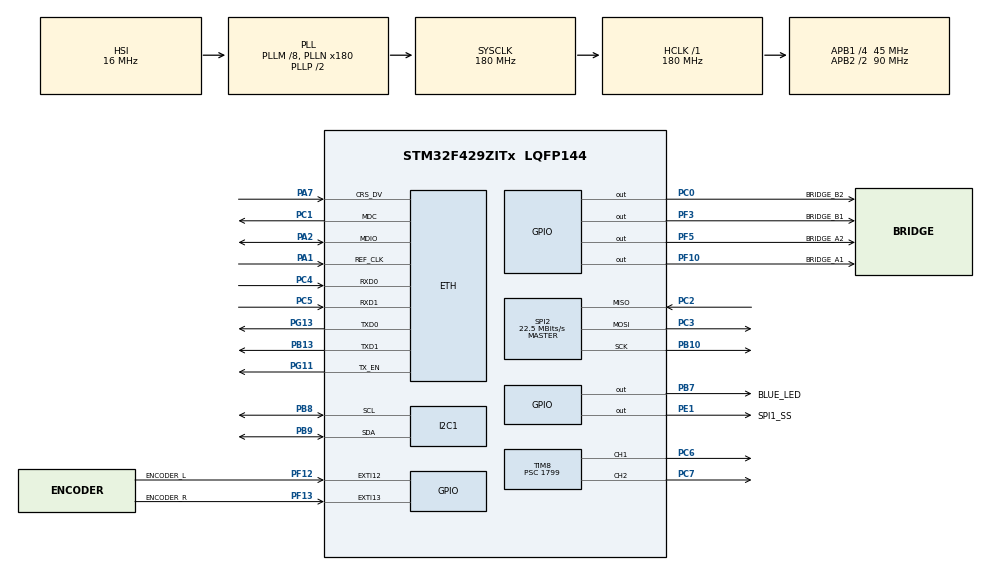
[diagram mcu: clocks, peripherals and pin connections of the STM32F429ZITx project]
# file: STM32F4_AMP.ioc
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ETH.MediaInterface=ETH_MEDIA_INTERFACE_RMII
ETH.PHY_ISFR_INT4=0x0010
ETH.PhyAddress=0
I2C1.I2C_Mode=I2C_Fast
LWIP.CHECKSUM_BY_HARDWARE=1
LWIP.GATEWAY_ADDRESS=192.168.001.001
LWIP.IP_ADDRESS=192.168.001.010
LWIP.LWIP_BROADCAST_PING=1
LWIP.LWIP_DHCP=0
LWIP.LWIP_NETIF_LINK_CALLBACK=1
LWIP.LWIP_RAW=1
LWIP.LWIP_TCP_TIMESTAMPS=1
LWIP.MEM_SIZE=8000
LWIP.NETMASK_ADDRESS=255.255.255.000
LWIP.PBUF_POOL_BUFSIZE=1516
LWIP.TCP_MSS=1460
LWIP.Version=v2.0.3_Cube
Mcu.Family=STM32F4
Mcu.Name=STM32F429ZITx
Mcu.Package=LQFP144
NVIC.ETH_IRQn=true\:1\:0\:true\:false\:true\:true\:true
NVIC.EXTI15_10_IRQn=true\:1\:0\:true\:false\:true\:true\:true
NVIC.PriorityGroup=NVIC_PRIORITYGROUP_4
NVIC.TIM1_BRK_TIM9_IRQn=true\:1\:0\:true\:false\:true\:true\:true
NVIC.TIM6_DAC_IRQn=true\:1\:0\:true\:false\:true\:true\:true
NVIC.TIM7_IRQn=true\:1\:0\:true\:false\:true\:true\:true
PA1.Mode=RMII
PA1.Signal=ETH_REF_CLK
PA2.Mode=RMII
PA2.Signal=ETH_MDIO
PA7.Mode=RMII
PA7.Signal=ETH_CRS_DV
PB10.Mode=Full_Duplex_Master
PB10.Signal=SPI2_SCK
PB13.Mode=RMII
PB13.Signal=ETH_TXD1
PB7.GPIO_Label=BLUE_LED
PB7.Signal=GPIO_Output
PB8.Mode=I2C
PB8.Signal=I2C1_SCL
PB9.Mode=I2C
PB9.Signal=I2C1_SDA
PC0.GPIO_Label=BRIDGE_B2
PC0.Signal=GPIO_Output
PC1.Mode=RMII
PC1.Signal=ETH_MDC
PC2.Mode=Full_Duplex_Master
PC2.Signal=SPI2_MISO
PC3.Mode=Full_Duplex_Master
PC3.Signal=SPI2_MOSI
PC4.Mode=RMII
PC4.Signal=ETH_RXD0
PC5.Mode=RMII
PC5.Signal=ETH_RXD1
PC6.Signal=S_TIM8_CH1
PC7.Signal=S_TIM8_CH2
PE1.GPIO_Label=SPI1_SS
PE1.Signal=GPIO_Output
PF10.GPIO_Label=BRIDGE_A1
PF10.Signal=GPIO_Output
PF12.GPIO_Label=ENCODER_L
PF12.Signal=GPXTI12
PF13.GPIO_Label=ENCODER_R
PF13.GPIO_ModeDefaultEXTI=GPIO_MODE_IT_RISING
PF13.GPIO_PuPd=GPIO_PULLDOWN
PF13.Signal=GPXTI13
PF3.GPIO_Label=BRIDGE_B1
PF3.Signal=GPIO_Output
PF5.GPIO_Label=BRIDGE_A2
PF5.Signal=GPIO_Output
PG11.Mode=RMII
PG11.Signal=ETH_TX_EN
PG13.Mode=RMII
PG13.Signal=ETH_TXD0
ProjectManager.HeapSize=0x200
ProjectManager.StackSize=0x400
ProjectManager.TargetToolchain=STM32CubeIDE
RCC.48MHZClocksFreq_Value=90000000
RCC.AHBFreq_Value=180000000
RCC.APB1CLKDivider=RCC_HCLK_DIV4
RCC.APB1Freq_Value=45000000
RCC.APB1TimFreq_Value=90000000
RCC.APB2CLKDivider=RCC_HCLK_DIV2
RCC.APB2Freq_Value=90000000
RCC.APB2TimFreq_Value=180000000
RCC.CortexFreq_Value=180000000
RCC.HCLKFreq_Value=180000000
RCC.HSE_VALUE=25000000
RCC.HSI_VALUE=16000000
RCC.LSE_VALUE=32768
RCC.PLLM=8
RCC.PLLN=180
RCC.SYSCLKFreq_VALUE=180000000
RCC.SYSCLKSource=RCC_SYSCLKSOURCE_PLLCLK
RCC.VCOOutputFreq_Value=360000000
SH.S_TIM8_CH1.0=TIM8_CH1,PWM Generation1 CH1
SH.S_TIM8_CH2.0=TIM8_CH2,PWM Generation2 CH2
SPI2.CalculateBaudRate=22.5 MBits/s
SPI2.Direction=SPI_DIRECTION_2LINES
SPI2.Mode=SPI_MODE_MASTER
SPI2.VirtualType=VM_MASTER
TIM6.Period=99
TIM6.Prescaler=8999
TIM7.Period=9999
TIM7.Prescaler=8999
TIM8.Channel-PWM\ Generation1\ CH1=TIM_CHANNEL_1
TIM8.Channel-PWM\ Generation2\ CH2=TIM_CHANNEL_2
TIM8.Period=999
TIM8.Prescaler=1799
TIM9.Period=499
TIM9.Prescaler=17999
VP_LWIP_VS_Enabled.Mode=Enabled
VP_TIM6_VS_ClockSourceINT.Mode=Enable_Timer
VP_TIM7_VS_ClockSourceINT.Mode=Enable_Timer
VP_TIM8_VS_ClockSourceINT.Mode=Internal
VP_TIM9_VS_ClockSourceINT.Mode=Internal
board=NUCLEO-F429ZI

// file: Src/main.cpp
/* USER CODE BEGIN Header */
/**
  ******************************************************************************
  * @file           : main.c
  * @brief          : Main program body
  ******************************************************************************
  * @attention
  *
  * <h2><center>&copy; Copyright (c) 2019 STMicroelectronics.
  * All rights reserved.</center></h2>
  *
  * This software component is licensed by ST under Ultimate Liberty license
  * SLA0044, the "License"; You may not use this file except in compliance with
  * the License. You may obtain a copy of the License at:
  *                             www.st.com/SLA0044
  *
  ******************************************************************************
  */
/* USER CODE END Header */

#include "main.h"
#include "lwip.h"

/* USER CODE BEGIN Includes */

#include "Encoder.h"
#include "DCMotor.h"
#include "IMUSensor.h"
#include "DataPtrVolumePair.h"
#include "DataManagement.h"
#include "tcp_echoserver.h"
#include "tcp_echoclient.h"

/* USER CODE END Includes */

/* USER CODE BEGIN PD */

#include "globalDefines.h"

/* USER CODE END PD */

I2C_HandleTypeDef hi2c1;

SPI_HandleTypeDef hspi2;

TIM_HandleTypeDef htim6;
TIM_HandleTypeDef htim7;
TIM_HandleTypeDef htim8;
TIM_HandleTypeDef htim9;

/* USER CODE BEGIN PV */

Encoder encoder;
DCMotor dcMotors(&htim8);
IMUSensor imuSensors(IMU_NUM_OF_ELEM);
DataManagement dataManagement;

std::map<uint8_t, DataPtrVolumePair> dataPtrMap =
{
	{ID_PWM, DataPtrVolumePair{1, SIZE_GET_PWM, std::bind(&DCMotor::getDataInArray, &dcMotors, std::placeholders::_1)}},
	{ID_ACC, DataPtrVolumePair{IMU_NUM_OF_ELEM, SIZE_GET_ACC, std::bind(&IMUSensor::getAccData, &imuSensors, std::placeholders::_1)}},
	{ID_GYRO, DataPtrVolumePair{IMU_NUM_OF_ELEM, SIZE_GET_GYRO, std::bind(&IMUSensor::getGyroData, &imuSensors, std::placeholders::_1)}},
	{ID_MAG, DataPtrVolumePair{IMU_NUM_OF_ELEM, SIZE_GET_MAG, std::bind(&IMUSensor::getMagData, &imuSensors, std::placeholders::_1)}},
	{ID_ENCODER, DataPtrVolumePair{1, SIZE_GET_ENCODER, std::bind(&Encoder::getDataInArray, &encoder, std::placeholders::_1)}}
};

/* USER CODE END PV */

void SystemClock_Config(void);
static void MX_GPIO_Init(void);
static void MX_I2C1_Init(void);
static void MX_TIM6_Init(void);
static void MX_TIM7_Init(void);
static void MX_TIM8_Init(void);
static void MX_TIM9_Init(void);
static void MX_SPI2_Init(void);

/* USER CODE BEGIN 0 */

int _write(int file, char *ptr, int len)
{
	for (int i = 0; i < len; i++)
	{
		ITM_SendChar(*ptr++);
	}
	return len;
}

void HAL_TIM_PeriodElapsedCallback(TIM_HandleTypeDef *htim)
{
	if (htim->Instance == TIM6)
	{
		imuSensors.pullDataFromSensorsI2C(&hi2c1);
	}

	if (htim->Instance == TIM7)
	{
		HAL_GPIO_TogglePin(BLUE_LED_GPIO_Port, BLUE_LED_Pin);
		encoder.countPulsesPerSecond();
	}

	if (htim->Instance == TIM9)
	{
		uint16_t dataLength;
		std::unique_ptr<uint8_t[]> dataBuffer = std::make_unique<uint8_t[]>(dataManagement.getMaxDataSize());

		dataLength = dataManagement.getCollectedData(dataBuffer.get());

		sendDataWhileConnected(dataBuffer.get(), dataLength);
	}
}

void HAL_GPIO_EXTI_Callback(uint16_t GPIO_Pin)
{
	if(GPIO_Pin == ENCODER_R_Pin)
	{
		encoder.incrementEncoderPulse(RIGHT_ENCODER);
	}

	if(GPIO_Pin == ENCODER_L_Pin)
	{
		encoder.incrementEncoderPulse(LEFT_ENCODER);
	}
}

/* USER CODE END 0 */

int main(void)
{

  /* MCU Configuration--------------------------------------------------------*/

  /* Reset of all peripherals, Initializes the Flash interface and the Systick. */
  HAL_Init();

  /* Configure the system clock */
  SystemClock_Config();

  /* Initialize all configured peripherals */
  MX_GPIO_Init();
  MX_I2C1_Init();
  MX_TIM6_Init();
  MX_TIM7_Init();
  MX_TIM8_Init();
  MX_TIM9_Init();
  MX_LWIP_Init();
  MX_SPI2_Init();
  /* USER CODE BEGIN 2 */

  HAL_I2C_Init(&hi2c1);
  imuSensors.initializeI2C_Sensors(&hi2c1);

  dcMotors.stop_L();
  dcMotors.stop_R();

  dataManagement.configure(&dataPtrMap);
  tcp_echoserver_init();

  HAL_TIM_Base_Start_IT(&htim6);
  HAL_TIM_Base_Start_IT(&htim7);
  HAL_TIM_Base_Start_IT(&htim9);
  HAL_TIM_PWM_Start(&htim8, TIM_CHANNEL_1);
  HAL_TIM_PWM_Start(&htim8, TIM_CHANNEL_2);
  /* USER CODE END 2 */

  /* Infinite loop */
  /* USER CODE BEGIN WHILE */
  while (1)
  {
	  MX_LWIP_Process();

    /* USER CODE END WHILE */

  }
}

void SystemClock_Config(void)
{
  RCC_OscInitTypeDef RCC_OscInitStruct = {0};
  RCC_ClkInitTypeDef RCC_ClkInitStruct = {0};

  /** Configure the main internal regulator output voltage
  */
  __HAL_RCC_PWR_CLK_ENABLE();
  __HAL_PWR_VOLTAGESCALING_CONFIG(PWR_REGULATOR_VOLTAGE_SCALE1);
  /** Initializes the CPU, AHB and APB busses clocks
  */
  RCC_OscInitStruct.OscillatorType = RCC_OSCILLATORTYPE_HSI;
  RCC_OscInitStruct.HSIState = RCC_HSI_ON;
  RCC_OscInitStruct.HSICalibrationValue = RCC_HSICALIBRATION_DEFAULT;
  RCC_OscInitStruct.PLL.PLLState = RCC_PLL_ON;
  RCC_OscInitStruct.PLL.PLLSource = RCC_PLLSOURCE_HSI;
  RCC_OscInitStruct.PLL.PLLM = 8;
  RCC_OscInitStruct.PLL.PLLN = 180;
  RCC_OscInitStruct.PLL.PLLP = RCC_PLLP_DIV2;
  RCC_OscInitStruct.PLL.PLLQ = 4;
  if (HAL_RCC_OscConfig(&RCC_OscInitStruct) != HAL_OK)
  {
    Error_Handler();
  }
  /** Activate the Over-Drive mode
  */
  if (HAL_PWREx_EnableOverDrive() != HAL_OK)
  {
    Error_Handler();
  }
  /** Initializes the CPU, AHB and APB busses clocks
  */
  RCC_ClkInitStruct.ClockType = RCC_CLOCKTYPE_HCLK|RCC_CLOCKTYPE_SYSCLK
                              |RCC_CLOCKTYPE_PCLK1|RCC_CLOCKTYPE_PCLK2;
  RCC_ClkInitStruct.SYSCLKSource = RCC_SYSCLKSOURCE_PLLCLK;
  RCC_ClkInitStruct.AHBCLKDivider = RCC_SYSCLK_DIV1;
  RCC_ClkInitStruct.APB1CLKDivider = RCC_HCLK_DIV4;
  RCC_ClkInitStruct.APB2CLKDivider = RCC_HCLK_DIV2;

  if (HAL_RCC_ClockConfig(&RCC_ClkInitStruct, FLASH_LATENCY_5) != HAL_OK)
  {
    Error_Handler();
  }
}

static void MX_I2C1_Init(void)
{

  hi2c1.Instance = I2C1;
  hi2c1.Init.ClockSpeed = 400000;
  hi2c1.Init.DutyCycle = I2C_DUTYCYCLE_2;
  hi2c1.Init.OwnAddress1 = 0;
  hi2c1.Init.AddressingMode = I2C_ADDRESSINGMODE_7BIT;
  hi2c1.Init.DualAddressMode = I2C_DUALADDRESS_DISABLE;
  hi2c1.Init.OwnAddress2 = 0;
  hi2c1.Init.GeneralCallMode = I2C_GENERALCALL_DISABLE;
  hi2c1.Init.NoStretchMode = I2C_NOSTRETCH_DISABLE;
  if (HAL_I2C_Init(&hi2c1) != HAL_OK)
  {
    Error_Handler();
  }
  /** Configure Analogue filter
  */
  if (HAL_I2CEx_ConfigAnalogFilter(&hi2c1, I2C_ANALOGFILTER_ENABLE) != HAL_OK)
  {
    Error_Handler();
  }
  /** Configure Digital filter
  */
  if (HAL_I2CEx_ConfigDigitalFilter(&hi2c1, 0) != HAL_OK)
  {
    Error_Handler();
  }

}

static void MX_SPI2_Init(void)
{

  /* SPI2 parameter configuration*/
  hspi2.Instance = SPI2;
  hspi2.Init.Mode = SPI_MODE_MASTER;
  hspi2.Init.Direction = SPI_DIRECTION_2LINES;
  hspi2.Init.DataSize = SPI_DATASIZE_8BIT;
  hspi2.Init.CLKPolarity = SPI_POLARITY_LOW;
  hspi2.Init.CLKPhase = SPI_PHASE_1EDGE;
  hspi2.Init.NSS = SPI_NSS_SOFT;
  hspi2.Init.BaudRatePrescaler = SPI_BAUDRATEPRESCALER_2;
  hspi2.Init.FirstBit = SPI_FIRSTBIT_MSB;
  hspi2.Init.TIMode = SPI_TIMODE_DISABLE;
  hspi2.Init.CRCCalculation = SPI_CRCCALCULATION_DISABLE;
  hspi2.Init.CRCPolynomial = 10;
  if (HAL_SPI_Init(&hspi2) != HAL_OK)
  {
    Error_Handler();
  }

}

static void MX_TIM6_Init(void)
{

  TIM_MasterConfigTypeDef sMasterConfig = {0};

  htim6.Instance = TIM6;
  htim6.Init.Prescaler = 8999;
  htim6.Init.CounterMode = TIM_COUNTERMODE_UP;
  htim6.Init.Period = 99;
  htim6.Init.AutoReloadPreload = TIM_AUTORELOAD_PRELOAD_DISABLE;
  if (HAL_TIM_Base_Init(&htim6) != HAL_OK)
  {
    Error_Handler();
  }
  sMasterConfig.MasterOutputTrigger = TIM_TRGO_RESET;
  sMasterConfig.MasterSlaveMode = TIM_MASTERSLAVEMODE_DISABLE;
  if (HAL_TIMEx_MasterConfigSynchronization(&htim6, &sMasterConfig) != HAL_OK)
  {
    Error_Handler();
  }

}

static void MX_TIM7_Init(void)
{

  TIM_MasterConfigTypeDef sMasterConfig = {0};

  htim7.Instance = TIM7;
  htim7.Init.Prescaler = 8999;
  htim7.Init.CounterMode = TIM_COUNTERMODE_UP;
  htim7.Init.Period = 9999;
  htim7.Init.AutoReloadPreload = TIM_AUTORELOAD_PRELOAD_DISABLE;
  if (HAL_TIM_Base_Init(&htim7) != HAL_OK)
  {
    Error_Handler();
  }
  sMasterConfig.MasterOutputTrigger = TIM_TRGO_RESET;
  sMasterConfig.MasterSlaveMode = TIM_MASTERSLAVEMODE_DISABLE;
  if (HAL_TIMEx_MasterConfigSynchronization(&htim7, &sMasterConfig) != HAL_OK)
  {
    Error_Handler();
  }

}

static void MX_TIM8_Init(void)
{

  TIM_ClockConfigTypeDef sClockSourceConfig = {0};
  TIM_MasterConfigTypeDef sMasterConfig = {0};
  TIM_OC_InitTypeDef sConfigOC = {0};
  TIM_BreakDeadTimeConfigTypeDef sBreakDeadTimeConfig = {0};

  htim8.Instance = TIM8;
  htim8.Init.Prescaler = 1799;
  htim8.Init.CounterMode = TIM_COUNTERMODE_UP;
  htim8.Init.Period = 999;
  htim8.Init.ClockDivision = TIM_CLOCKDIVISION_DIV1;
  htim8.Init.RepetitionCounter = 0;
  htim8.Init.AutoReloadPreload = TIM_AUTORELOAD_PRELOAD_DISABLE;
  if (HAL_TIM_Base_Init(&htim8) != HAL_OK)
  {
    Error_Handler();
  }
  sClockSourceConfig.ClockSource = TIM_CLOCKSOURCE_INTERNAL;
  if (HAL_TIM_ConfigClockSource(&htim8, &sClockSourceConfig) != HAL_OK)
  {
    Error_Handler();
  }
  if (HAL_TIM_PWM_Init(&htim8) != HAL_OK)
  {
    Error_Handler();
  }
  sMasterConfig.MasterOutputTrigger = TIM_TRGO_RESET;
  sMasterConfig.MasterSlaveMode = TIM_MASTERSLAVEMODE_DISABLE;
  if (HAL_TIMEx_MasterConfigSynchronization(&htim8, &sMasterConfig) != HAL_OK)
  {
    Error_Handler();
  }
  sConfigOC.OCMode = TIM_OCMODE_PWM1;
  sConfigOC.Pulse = 0;
  sConfigOC.OCPolarity = TIM_OCPOLARITY_HIGH;
  sConfigOC.OCNPolarity = TIM_OCNPOLARITY_HIGH;
  sConfigOC.OCFastMode = TIM_OCFAST_DISABLE;
  sConfigOC.OCIdleState = TIM_OCIDLESTATE_RESET;
  sConfigOC.OCNIdleState = TIM_OCNIDLESTATE_RESET;
  if (HAL_TIM_PWM_ConfigChannel(&htim8, &sConfigOC, TIM_CHANNEL_1) != HAL_OK)
  {
    Error_Handler();
  }
  if (HAL_TIM_PWM_ConfigChannel(&htim8, &sConfigOC, TIM_CHANNEL_2) != HAL_OK)
  {
    Error_Handler();
  }
  sBreakDeadTimeConfig.OffStateRunMode = TIM_OSSR_DISABLE;
  sBreakDeadTimeConfig.OffStateIDLEMode = TIM_OSSI_DISABLE;
  sBreakDeadTimeConfig.LockLevel = TIM_LOCKLEVEL_OFF;
  sBreakDeadTimeConfig.DeadTime = 0;
  sBreakDeadTimeConfig.BreakState = TIM_BREAK_DISABLE;
  sBreakDeadTimeConfig.BreakPolarity = TIM_BREAKPOLARITY_HIGH;
  sBreakDeadTimeConfig.AutomaticOutput = TIM_AUTOMATICOUTPUT_DISABLE;
  if (HAL_TIMEx_ConfigBreakDeadTime(&htim8, &sBreakDeadTimeConfig) != HAL_OK)
  {
    Error_Handler();
  }
  HAL_TIM_MspPostInit(&htim8);

}

static void MX_TIM9_Init(void)
{

  TIM_ClockConfigTypeDef sClockSourceConfig = {0};

  htim9.Instance = TIM9;
  htim9.Init.Prescaler = 17999;
  htim9.Init.CounterMode = TIM_COUNTERMODE_UP;
  htim9.Init.Period = 499;
  htim9.Init.ClockDivision = TIM_CLOCKDIVISION_DIV1;
  htim9.Init.AutoReloadPreload = TIM_AUTORELOAD_PRELOAD_DISABLE;
  if (HAL_TIM_Base_Init(&htim9) != HAL_OK)
  {
    Error_Handler();
  }
  sClockSourceConfig.ClockSource = TIM_CLOCKSOURCE_INTERNAL;
  if (HAL_TIM_ConfigClockSource(&htim9, &sClockSourceConfig) != HAL_OK)
  {
    Error_Handler();
  }

}

static void MX_GPIO_Init(void)
{
  GPIO_InitTypeDef GPIO_InitStruct = {0};

  /* GPIO Ports Clock Enable */
  __HAL_RCC_GPIOF_CLK_ENABLE();
  __HAL_RCC_GPIOC_CLK_ENABLE();
  __HAL_RCC_GPIOA_CLK_ENABLE();
  __HAL_RCC_GPIOB_CLK_ENABLE();
  __HAL_RCC_GPIOG_CLK_ENABLE();
  __HAL_RCC_GPIOE_CLK_ENABLE();

  /*Configure GPIO pin Output Level */
  HAL_GPIO_WritePin(GPIOF, BRIDGE_B1_Pin|BRIDGE_A2_Pin|BRIDGE_A1_Pin, GPIO_PIN_RESET);

  /*Configure GPIO pin Output Level */
  HAL_GPIO_WritePin(BRIDGE_B2_GPIO_Port, BRIDGE_B2_Pin, GPIO_PIN_RESET);

  /*Configure GPIO pin Output Level */
  HAL_GPIO_WritePin(BLUE_LED_GPIO_Port, BLUE_LED_Pin, GPIO_PIN_RESET);

  /*Configure GPIO pin Output Level */
  HAL_GPIO_WritePin(SPI1_SS_GPIO_Port, SPI1_SS_Pin, GPIO_PIN_RESET);

  /*Configure GPIO pins : BRIDGE_B1_Pin BRIDGE_A2_Pin BRIDGE_A1_Pin */
  GPIO_InitStruct.Pin = BRIDGE_B1_Pin|BRIDGE_A2_Pin|BRIDGE_A1_Pin;
  GPIO_InitStruct.Mode = GPIO_MODE_OUTPUT_PP;
  GPIO_InitStruct.Pull = GPIO_NOPULL;
  GPIO_InitStruct.Speed = GPIO_SPEED_FREQ_LOW;
  HAL_GPIO_Init(GPIOF, &GPIO_InitStruct);

  /*Configure GPIO pin : BRIDGE_B2_Pin */
  GPIO_InitStruct.Pin = BRIDGE_B2_Pin;
  GPIO_InitStruct.Mode = GPIO_MODE_OUTPUT_PP;
  GPIO_InitStruct.Pull = GPIO_NOPULL;
  GPIO_InitStruct.Speed = GPIO_SPEED_FREQ_LOW;
  HAL_GPIO_Init(BRIDGE_B2_GPIO_Port, &GPIO_InitStruct);

  /*Configure GPIO pin : ENCODER_L_Pin */
  GPIO_InitStruct.Pin = ENCODER_L_Pin;
  GPIO_InitStruct.Mode = GPIO_MODE_IT_RISING;
  GPIO_InitStruct.Pull = GPIO_NOPULL;
  HAL_GPIO_Init(ENCODER_L_GPIO_Port, &GPIO_InitStruct);

  /*Configure GPIO pin : ENCODER_R_Pin */
  GPIO_InitStruct.Pin = ENCODER_R_Pin;
  GPIO_InitStruct.Mode = GPIO_MODE_IT_RISING;
  GPIO_InitStruct.Pull = GPIO_PULLDOWN;
  HAL_GPIO_Init(ENCODER_R_GPIO_Port, &GPIO_InitStruct);

  /*Configure GPIO pin : BLUE_LED_Pin */
  GPIO_InitStruct.Pin = BLUE_LED_Pin;
  GPIO_InitStruct.Mode = GPIO_MODE_OUTPUT_PP;
  GPIO_InitStruct.Pull = GPIO_NOPULL;
  GPIO_InitStruct.Speed = GPIO_SPEED_FREQ_LOW;
  HAL_GPIO_Init(BLUE_LED_GPIO_Port, &GPIO_InitStruct);

  /*Configure GPIO pin : SPI1_SS_Pin */
  GPIO_InitStruct.Pin = SPI1_SS_Pin;
  GPIO_InitStruct.Mode = GPIO_MODE_OUTPUT_PP;
  GPIO_InitStruct.Pull = GPIO_NOPULL;
  GPIO_InitStruct.Speed = GPIO_SPEED_FREQ_LOW;
  HAL_GPIO_Init(SPI1_SS_GPIO_Port, &GPIO_InitStruct);

  /* EXTI interrupt init*/
  HAL_NVIC_SetPriority(EXTI15_10_IRQn, 1, 0);
  HAL_NVIC_EnableIRQ(EXTI15_10_IRQn);

}

void Error_Handler(void)
{
}

/************************ (C) COPYRIGHT STMicroelectronics *****END OF FILE****/
